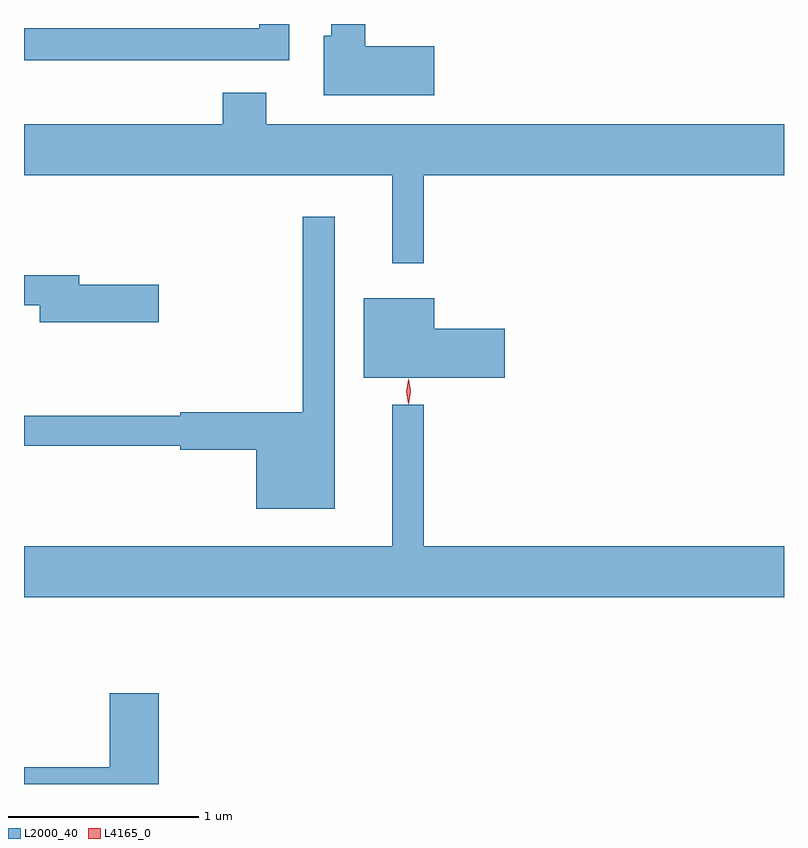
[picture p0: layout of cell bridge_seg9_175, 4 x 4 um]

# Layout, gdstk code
import gdstk
lib = gdstk.Library(unit=1e-6, precision=1e-09)
def P(c, l, *ps):  # polygons
    for p in ps: c.add(gdstk.Polygon(p, *l))
L2000_40 = (2000, 40)
L4165_0 = (4165, 0)

bridge_seg9_175 = lib.new_cell('bridge_seg9_175')
P(bridge_seg9_175, L2000_40, [(1104.209,2076.972),(1104.051,2076.972),(1104.051,2076.949),(1102.814,2076.949),(1102.814,2076.781),(1104.209,2076.781)],
  [(1104.974,2076.854),(1104.609,2076.854),(1104.609,2076.972),(1104.431,2076.972),(1104.431,2076.909),(1104.391,2076.909),(1104.391,2076.596),(1104.974,2076.596)],
  [(1104.919,2076.176),(1106.814,2076.176),(1106.814,2076.444),(1104.089,2076.444),(1104.089,2076.609),(1103.861,2076.609),(1103.861,2076.444),(1102.814,2076.444),(1102.814,2076.176),(1104.751,2076.176),(1104.751,2075.713),(1104.919,2075.713)],
  [(1104.449,2075.958),(1104.281,2075.958),(1104.281,2074.929),(1103.636,2074.929),(1103.636,2074.909),(1102.814,2074.909),(1102.814,2074.751),(1103.636,2074.751),(1103.636,2074.731),(1104.036,2074.731),(1104.036,2074.421),(1104.449,2074.421)],
  [(1103.524,2075.599),(1103.104,2075.599),(1103.104,2075.649),(1102.814,2075.649),(1102.814,2075.491),(1102.896,2075.491),(1102.896,2075.401),(1103.524,2075.401)],
  [(1105.344,2075.369),(1104.974,2075.369),(1104.974,2075.529),(1104.601,2075.529),(1104.601,2075.111),(1105.344,2075.111)],
  [(1106.814,2074.224),(1104.919,2074.224),(1104.919,2074.968),(1104.751,2074.968),(1104.751,2074.224),(1102.814,2074.224),(1102.814,2073.956),(1106.814,2073.956)],
  [(1103.524,2073.449),(1103.266,2073.449),(1103.266,2073.059),(1102.814,2073.059),(1102.814,2072.972),(1103.524,2072.972)])
P(bridge_seg9_175, L4165_0, [(1104.839,2074.97),(1104.839,2074.97),(1104.829,2075.038),(1104.839,2075.106),(1104.839,2075.106),(1104.84,2075.106),(1104.849,2075.038),(1104.84,2074.97)],
  [(1104.836,2074.973),(1104.827,2075.036),(1104.836,2075.1),(1104.837,2075.1),(1104.838,2075.1),(1104.847,2075.036),(1104.838,2074.973),(1104.837,2074.973)])

lib.write_gds('bridge_seg9_175.gds')
